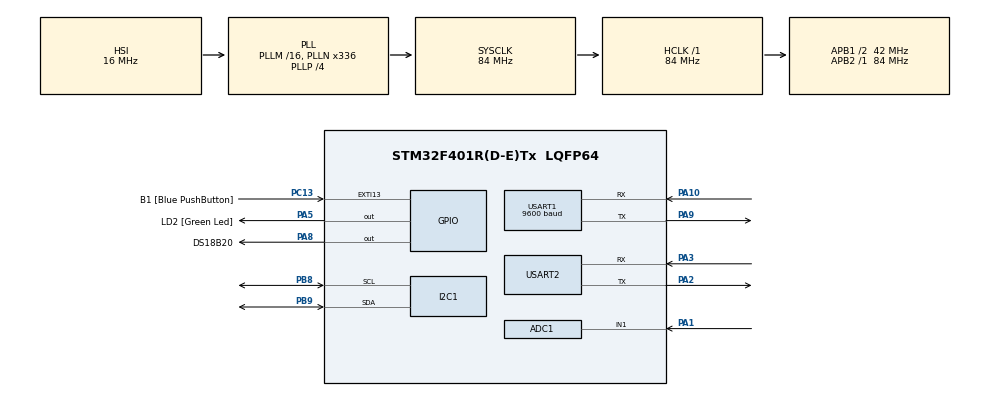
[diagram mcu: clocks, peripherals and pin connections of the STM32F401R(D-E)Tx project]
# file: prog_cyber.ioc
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ADC1.Channel-0\#ChannelRegularConversion=ADC_CHANNEL_1
ADC1.NbrOfConversionFlag=1
ADC1.Rank-0\#ChannelRegularConversion=1
ADC1.SamplingTime-0\#ChannelRegularConversion=ADC_SAMPLETIME_3CYCLES
ADC1.master=1
FREERTOS.Tasks01=defaultTask,0,128,StartDefaultTask,Default,NULL,Dynamic,NULL,NULL
Mcu.Family=STM32F4
Mcu.Name=STM32F401R(D-E)Tx
Mcu.Package=LQFP64
NVIC.PriorityGroup=NVIC_PRIORITYGROUP_4
NVIC.TIM1_UP_TIM10_IRQn=true\:0\:0\:true\:false\:true\:false\:false\:true\:true
NVIC.TimeBase=TIM1_UP_TIM10_IRQn
NVIC.TimeBaseIP=TIM1
PA1.Signal=ADCx_IN1
PA10.Mode=Asynchronous
PA10.Signal=USART1_RX
PA13.GPIO_Label=TMS
PA13.Mode=Trace_Asynchronous_SW
PA13.Signal=SYS_JTMS-SWDIO
PA14.GPIO_Label=TCK
PA14.Mode=Trace_Asynchronous_SW
PA14.Signal=SYS_JTCK-SWCLK
PA2.GPIO_Mode=GPIO_MODE_AF_PP
PA2.GPIO_ModeDefaultPP=GPIO_MODE_AF_PP
PA2.GPIO_PuPd=GPIO_NOPULL
PA2.GPIO_Speed=GPIO_SPEED_FREQ_VERY_HIGH
PA2.Mode=Asynchronous
PA2.Signal=USART2_TX
PA3.GPIO_Mode=GPIO_MODE_AF_PP
PA3.GPIO_ModeDefaultPP=GPIO_MODE_AF_PP
PA3.GPIO_PuPd=GPIO_NOPULL
PA3.GPIO_Speed=GPIO_SPEED_FREQ_VERY_HIGH
PA3.Mode=Asynchronous
PA3.Signal=USART2_RX
PA5.GPIO_Label=LD2 [Green Led]
PA5.GPIO_Mode=GPIO_MODE_OUTPUT_PP
PA5.GPIO_PuPd=GPIO_NOPULL
PA5.GPIO_Speed=GPIO_SPEED_FREQ_LOW
PA5.Signal=GPIO_Output
PA8.GPIO_Label=DS18B20
PA8.GPIO_ModeDefaultOutputPP=GPIO_MODE_OUTPUT_OD
PA8.GPIO_PuPd=GPIO_PULLUP
PA8.GPIO_Speed=GPIO_SPEED_FREQ_HIGH
PA8.PinState=GPIO_PIN_SET
PA8.Signal=GPIO_Output
PA9.Mode=Asynchronous
PA9.Signal=USART1_TX
PB3.GPIO_Label=SWO
PB3.Mode=Trace_Asynchronous_SW
PB3.Signal=SYS_JTDO-SWO
PB8.Mode=I2C
PB8.Signal=I2C1_SCL
PB9.Mode=I2C
PB9.Signal=I2C1_SDA
PC13-ANTI_TAMP.GPIO_Label=B1 [Blue PushButton]
PC13-ANTI_TAMP.GPIO_ModeDefaultEXTI=GPIO_MODE_IT_FALLING
PC13-ANTI_TAMP.GPIO_PuPd=GPIO_NOPULL
PC13-ANTI_TAMP.Signal=GPXTI13
PC14-OSC32_IN.Mode=LSE-External-Oscillator
PC14-OSC32_IN.Signal=RCC_OSC32_IN
PC15-OSC32_OUT.Mode=LSE-External-Oscillator
PC15-OSC32_OUT.Signal=RCC_OSC32_OUT
PH0\ -\ OSC_IN.Mode=HSE-External-Clock-Source
PH0\ -\ OSC_IN.Signal=RCC_OSC_IN
PH1\ -\ OSC_OUT.Mode=HSE-External-Clock-Source
PH1\ -\ OSC_OUT.Signal=RCC_OSC_OUT
ProjectManager.HeapSize=0x200
ProjectManager.StackSize=0x400
ProjectManager.TargetToolchain=STM32CubeIDE
RCC.48MHZClocksFreq_Value=48000000
RCC.AHBFreq_Value=84000000
RCC.APB1CLKDivider=RCC_HCLK_DIV2
RCC.APB1Freq_Value=42000000
RCC.APB1TimFreq_Value=84000000
RCC.APB2Freq_Value=84000000
RCC.APB2TimFreq_Value=84000000
RCC.CortexFreq_Value=84000000
RCC.HCLKFreq_Value=84000000
RCC.HSE_VALUE=8000000
RCC.HSI_VALUE=16000000
RCC.PLLN=336
RCC.PLLP=RCC_PLLP_DIV4
RCC.PLLQ=7
RCC.SYSCLKFreq_VALUE=84000000
RCC.SYSCLKSource=RCC_SYSCLKSOURCE_PLLCLK
RCC.VCOOutputFreq_Value=336000000
SH.ADCx_IN1.0=ADC1_IN1,IN1
USART1.BaudRate=9600
USART1.VirtualMode=VM_ASYNC
USART2.VirtualMode=VM_ASYNC
VP_FREERTOS_VS_CMSIS_V1.Mode=CMSIS_V1
VP_SYS_VS_tim1.Mode=TIM1
board=NUCLEO-F401RE

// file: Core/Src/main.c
/* USER CODE BEGIN Header */
/**
  ******************************************************************************
  * @file           : main.c
  * @brief          : Main program body
  ******************************************************************************
  */
/* USER CODE END Header */
#include "main.h"
#include "cmsis_os.h"

ADC_HandleTypeDef hadc1;//left for potential future use, in case another sensor requiring an ADC is added

I2C_HandleTypeDef hi2c1; //defining a variable/handle for I2C communication with the MPU6050

//definition of a variable/handle for UART serial communication with an HC-05 (Bluetooth module)
UART_HandleTypeDef huart1;
UART_HandleTypeDef huart2;

osThreadId defaultTaskHandle;//FREERTOS task identifier

void SystemClock_Config(void);
static void MX_GPIO_Init(void);
static void MX_I2C1_Init(void);
static void MX_USART2_UART_Init(void);
static void MX_ADC1_Init(void);
static void MX_USART1_UART_Init(void);
void StartDefaultTask(void const * argument);

/* USER CODE BEGIN PFP */
void MX_FREERTOS_Init(void); // Prototype of the function defined in freertos.c
/* USER CODE END PFP */

int main(void)
{

  /* MCU Configuration--------------------------------------------------------*/

  /* Reset of all peripherals, Initializes the Flash interface and the Systick. */
  HAL_Init();

  /* Configure the system clock */
  SystemClock_Config();

  /* Initialize all configured peripherals */
  MX_GPIO_Init();
  MX_I2C1_Init();
  MX_USART2_UART_Init();
  MX_ADC1_Init();
  MX_USART1_UART_Init();

  /*In the `main.c` code provided below, no mutexes, semaphores, timers, or queues have been used;
   * this is because FreeRTOS is managed within `freertos.c`,
   * and the architecture employed did not require their implementation. However, they could be enabled in the future.
   */

  /*===== CREATION OF THE TASK AND START OF THE RTOS KERNEL =====*/
  /* Create the thread(s) */
  /* definition and creation of defaultTask with priority normal and dedicated stack*/
  osThreadDef(defaultTask, StartDefaultTask, osPriorityNormal, 0, 128);
  defaultTaskHandle = osThreadCreate(osThread(defaultTask), NULL);

  MX_FREERTOS_Init();//Initialization of the global resources RTOS, already define in the freertos.c
  /* Start scheduler */
  /* Starting the FreeRTOS scheduler:
     From this point on, the kernel takes full control of the microcontroller,
     scheduling the tasks (SensorTask and BluetoothTask) based on their assigned priorities.*/
  osKernelStart();

  /* We should never get here as control is now taken by the scheduler */

  /* Infinite loop */
  while (1)
  {

  }
}

void SystemClock_Config(void)
{
  RCC_OscInitTypeDef RCC_OscInitStruct = {0};
  RCC_ClkInitTypeDef RCC_ClkInitStruct = {0};

  /** Configure the main internal regulator output voltage
  */
  __HAL_RCC_PWR_CLK_ENABLE();
  __HAL_PWR_VOLTAGESCALING_CONFIG(PWR_REGULATOR_VOLTAGE_SCALE2);

  /** Initializes the RCC Oscillators according to the specified parameters
  * in the RCC_OscInitTypeDef structure.
  */
  RCC_OscInitStruct.OscillatorType = RCC_OSCILLATORTYPE_HSI;
  RCC_OscInitStruct.HSIState = RCC_HSI_ON;
  RCC_OscInitStruct.HSICalibrationValue = RCC_HSICALIBRATION_DEFAULT;
  RCC_OscInitStruct.PLL.PLLState = RCC_PLL_ON;
  RCC_OscInitStruct.PLL.PLLSource = RCC_PLLSOURCE_HSI;
  RCC_OscInitStruct.PLL.PLLM = 16;
  RCC_OscInitStruct.PLL.PLLN = 336;
  RCC_OscInitStruct.PLL.PLLP = RCC_PLLP_DIV4;
  RCC_OscInitStruct.PLL.PLLQ = 7;
  if (HAL_RCC_OscConfig(&RCC_OscInitStruct) != HAL_OK)
  {
    Error_Handler();
  }

  /** Initializes the CPU, AHB and APB buses clocks
  */
  RCC_ClkInitStruct.ClockType = RCC_CLOCKTYPE_HCLK|RCC_CLOCKTYPE_SYSCLK
                              |RCC_CLOCKTYPE_PCLK1|RCC_CLOCKTYPE_PCLK2;
  RCC_ClkInitStruct.SYSCLKSource = RCC_SYSCLKSOURCE_PLLCLK;
  RCC_ClkInitStruct.AHBCLKDivider = RCC_SYSCLK_DIV1;
  RCC_ClkInitStruct.APB1CLKDivider = RCC_HCLK_DIV2;
  RCC_ClkInitStruct.APB2CLKDivider = RCC_HCLK_DIV1;

  if (HAL_RCC_ClockConfig(&RCC_ClkInitStruct, FLASH_LATENCY_2) != HAL_OK)
  {
    Error_Handler();
  }
}

static void MX_ADC1_Init(void)
{

  ADC_ChannelConfTypeDef sConfig = {0};

  /** Configure the global features of the ADC (Clock, Resolution, Data Alignment and number of conversion)
  */
  hadc1.Instance = ADC1;
  hadc1.Init.ClockPrescaler = ADC_CLOCK_SYNC_PCLK_DIV4;
  hadc1.Init.Resolution = ADC_RESOLUTION_12B;
  hadc1.Init.ScanConvMode = DISABLE;
  hadc1.Init.ContinuousConvMode = DISABLE;
  hadc1.Init.DiscontinuousConvMode = DISABLE;
  hadc1.Init.ExternalTrigConvEdge = ADC_EXTERNALTRIGCONVEDGE_NONE;
  hadc1.Init.ExternalTrigConv = ADC_SOFTWARE_START;
  hadc1.Init.DataAlign = ADC_DATAALIGN_RIGHT;
  hadc1.Init.NbrOfConversion = 1;
  hadc1.Init.DMAContinuousRequests = DISABLE;
  hadc1.Init.EOCSelection = ADC_EOC_SINGLE_CONV;
  if (HAL_ADC_Init(&hadc1) != HAL_OK)
  {
    Error_Handler();
  }

  /** Configure for the selected ADC regular channel its corresponding rank in the sequencer and its sample time.
  */
  sConfig.Channel = ADC_CHANNEL_1;
  sConfig.Rank = 1;
  sConfig.SamplingTime = ADC_SAMPLETIME_3CYCLES;
  if (HAL_ADC_ConfigChannel(&hadc1, &sConfig) != HAL_OK)
  {
    Error_Handler();
  }

}

static void MX_I2C1_Init(void)
{

  hi2c1.Instance = I2C1;
  hi2c1.Init.ClockSpeed = 100000;
  hi2c1.Init.DutyCycle = I2C_DUTYCYCLE_2;
  hi2c1.Init.OwnAddress1 = 0;
  hi2c1.Init.AddressingMode = I2C_ADDRESSINGMODE_7BIT;
  hi2c1.Init.DualAddressMode = I2C_DUALADDRESS_DISABLE;
  hi2c1.Init.OwnAddress2 = 0;
  hi2c1.Init.GeneralCallMode = I2C_GENERALCALL_DISABLE;
  hi2c1.Init.NoStretchMode = I2C_NOSTRETCH_DISABLE;
  if (HAL_I2C_Init(&hi2c1) != HAL_OK)
  {
    Error_Handler();
  }

}

static void MX_USART1_UART_Init(void)//we set baudrate to 9600 for the communication with the bluetooth module HC-05
{

  huart1.Instance = USART1;
  huart1.Init.BaudRate = 9600;
  huart1.Init.WordLength = UART_WORDLENGTH_8B;
  huart1.Init.StopBits = UART_STOPBITS_1;
  huart1.Init.Parity = UART_PARITY_NONE;
  huart1.Init.Mode = UART_MODE_TX_RX;
  huart1.Init.HwFlowCtl = UART_HWCONTROL_NONE;
  huart1.Init.OverSampling = UART_OVERSAMPLING_16;
  if (HAL_UART_Init(&huart1) != HAL_OK)
  {
    Error_Handler();
  }

}

static void MX_USART2_UART_Init(void)
{

  huart2.Instance = USART2;
  huart2.Init.BaudRate = 115200;
  huart2.Init.WordLength = UART_WORDLENGTH_8B;
  huart2.Init.StopBits = UART_STOPBITS_1;
  huart2.Init.Parity = UART_PARITY_NONE;
  huart2.Init.Mode = UART_MODE_TX_RX;
  huart2.Init.HwFlowCtl = UART_HWCONTROL_NONE;
  huart2.Init.OverSampling = UART_OVERSAMPLING_16;
  if (HAL_UART_Init(&huart2) != HAL_OK)
  {
    Error_Handler();
  }

}

static void MX_GPIO_Init(void) //function for different utilities of GPIO like LD2 for debugging task or PA8 for db18b20
//sensor of temperature that communicate only with onewire digital
{
  GPIO_InitTypeDef GPIO_InitStruct = {0};

  /* GPIO Ports Clock Enable */
  __HAL_RCC_GPIOC_CLK_ENABLE();
  __HAL_RCC_GPIOH_CLK_ENABLE();
  __HAL_RCC_GPIOA_CLK_ENABLE();
  __HAL_RCC_GPIOB_CLK_ENABLE();

  /*Configure GPIO pin Output Level */
  HAL_GPIO_WritePin(LD2_GPIO_Port, LD2_Pin, GPIO_PIN_RESET);

  /*Configure GPIO pin Output Level */
  HAL_GPIO_WritePin(DS18B20_GPIO_Port, DS18B20_Pin, GPIO_PIN_SET);

  /*Configure GPIO pin : B1_Pin */
  GPIO_InitStruct.Pin = B1_Pin;
  GPIO_InitStruct.Mode = GPIO_MODE_IT_FALLING;
  GPIO_InitStruct.Pull = GPIO_NOPULL;
  HAL_GPIO_Init(B1_GPIO_Port, &GPIO_InitStruct);

  /*Configure GPIO pin : LD2_Pin */
  GPIO_InitStruct.Pin = LD2_Pin;
  GPIO_InitStruct.Mode = GPIO_MODE_OUTPUT_PP;
  GPIO_InitStruct.Pull = GPIO_NOPULL;
  GPIO_InitStruct.Speed = GPIO_SPEED_FREQ_LOW;
  HAL_GPIO_Init(LD2_GPIO_Port, &GPIO_InitStruct);

  /*Configure GPIO pin : DS18B20_Pin */
  GPIO_InitStruct.Pin = DS18B20_Pin;
  GPIO_InitStruct.Mode = GPIO_MODE_OUTPUT_OD;
  GPIO_InitStruct.Pull = GPIO_PULLUP;
  GPIO_InitStruct.Speed = GPIO_SPEED_FREQ_HIGH;
  HAL_GPIO_Init(DS18B20_GPIO_Port, &GPIO_InitStruct);

}

void StartDefaultTask(void const * argument)
{
	/*Default task automatically generated by CubeMX.
	*Since the telemetry architecture is delegated entirely to custom tasks
	*(StartSensorTask and StartBluetoothTask), this task serves an
	inactive, supporting role, constantly yielding control back to the kernel.*/

  /* USER CODE BEGIN 5 */
  /* Infinite loop */
  for(;;)
  {
    osDelay(1); // Release the CPU for 1 ms, avoiding system overload
  }
  /* USER CODE END 5 */
}

/**
 * @brief Periodic interrupt callback for the hardware timer (TIM1).
 * Acts as the "heartbeat" (time-base) of the microcontroller,
 * incrementing the global variable 'uwTick' used by HAL_GetTick().
  * @param  htim : TIM handle
  * @retval None
  */
void HAL_TIM_PeriodElapsedCallback(TIM_HandleTypeDef *htim)
{
  if (htim->Instance == TIM1)
  {
    HAL_IncTick(); // Update the system millisecond counter
  }
}

void Error_Handler(void)
{
  __disable_irq();
  while (1)
  {
  }
}

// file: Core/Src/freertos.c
/* USER CODE BEGIN Header */
/**
  ******************************************************************************
  * File Name          : freertos.c
  * Description        : Code for freertos applications (Modular Architecture)
  ******************************************************************************
  */
/* USER CODE END Header */

#include "FreeRTOS.h" //header file of freertos.c
#include "task.h"  //header file that gives with FreeRTOS.h the primitives of time and thread
#include "queue.h"          // explicit inclusion of the queue
#include "main.h"		//inclusion of the main IMPORTANT
#include "cmsis_os.h"	//gives the definition CMSIS of the ARM for the uniformation of the callback of the os

/* USER CODE BEGIN Includes */
#include "ds18b20_temp.h"        // Header driver DS18B20 temperature sensor
#include "mpu6050.h"             // Driver MPU6050 I2C accelerometer sensor
#include "bluetooth.h"     // Driver Bluetooth UART module HC-05
#include "type_dati.h"       // Structure TelemetryPacket_t useful for the definition of data packet sent through HC-05
/* USER CODE END Includes */

/* USER CODE BEGIN Variables */
/*External references to hardware peripherals initialized in the main.c file*/
extern I2C_HandleTypeDef hi2c1;
extern UART_HandleTypeDef huart1;

// Queue e Task Handles
QueueHandle_t telemetryQueue = NULL; //Thread-safe queue for telemetry packets
osThreadId sensorTaskHandle; //Sensor sampling task handle
osThreadId bluetoothTaskHandle; //Handle for the serial/Bluetooth transmission task

// Istance MPU6050
volatile MPU6050_Handler_t mpu_device;

/*Debug variables mapped for real-time monitoring (IDE Live Expressions).
 *The 'volatile' keyword prevents the compiler from optimizing the variables away,
 *forcing the CPU to always read them directly from RAM.
 */
volatile float g_debug_ds18b20_temp = 0.0f;
volatile float g_debug_ax = 0.0f;
volatile float g_debug_ay = 0.0f;
volatile float g_debug_az = 0.0f;
/* USER CODE END Variables */

/* USER CODE BEGIN FunctionPrototypes */
void MX_FREERTOS_Init(void);
void StartSensorTask(void const * argument);
void StartBluetoothTask(void const * argument);
/* USER CODE END FunctionPrototypes */

/* Prototype for static memory allocation of the Idle task (FreeRTOS) */
void vApplicationGetIdleTaskMemory( StaticTask_t **ppxIdleTaskTCBBuffer, StackType_t **ppxIdleTaskStackBuffer, uint32_t *pulIdleTaskStackSize );

/* USER CODE BEGIN GET_IDLE_TASK_MEMORY */
static StaticTask_t xIdleTaskTCBBuffer;
static StackType_t xIdleStack[configMINIMAL_STACK_SIZE];

/**
 * @brief Provides the FreeRTOS kernel with static memory buffers for the Idle Task,
 * avoiding dynamic heap fragmentation and ensuring deterministic behavior.
 */
void vApplicationGetIdleTaskMemory( StaticTask_t **ppxIdleTaskTCBBuffer, StackType_t **ppxIdleTaskStackBuffer, uint32_t *pulIdleTaskStackSize )
{
  *ppxIdleTaskTCBBuffer = &xIdleTaskTCBBuffer;
  *ppxIdleTaskStackBuffer = &xIdleStack[0];
  *pulIdleTaskStackSize = configMINIMAL_STACK_SIZE;
}
/* USER CODE END GET_IDLE_TASK_MEMORY */

void MX_FREERTOS_Init(void) {

  /* USER CODE BEGIN RTOS_QUEUES */
  /* Creation of a thread-safe queue for telemetry packets.
  *Sized to hold up to 10 elements of type TelemetryPacket_t,
  *it acts as a decoupling buffer between the sensor task and the Bluetooth task. */
  telemetryQueue = xQueueCreate(10, sizeof(TelemetryPacket_t));
  /* USER CODE END RTOS_QUEUES */

  /* USER CODE BEGIN RTOS_TASKS */
  /* 1. Definition and creation of the Sensor Sampling Task
   *(Normal priority, stack allocated to 512 words to accommodate I2C and OneWire libraries). */
  osThreadDef(sensorTask, StartSensorTask, osPriorityNormal, 0, 512);
  sensorTaskHandle = osThreadCreate(osThread(sensorTask), NULL);

  /* 2. Definition and creation of the Bluetooth Transmission Task
   *(Normal priority, stack allocated to 512 words for serial communication handling). */
  osThreadDef(bluetoothTask, StartBluetoothTask, osPriorityNormal, 0, 512);
  bluetoothTaskHandle = osThreadCreate(osThread(bluetoothTask), NULL);
  /* USER CODE END RTOS_TASKS */
}

/* USER CODE BEGIN Application */

/**
 * @brief High-reliability sensor sampling task (DS18B20 + MPU6050).
 * Implements communication bus management, asynchronous non-blocking
 * conversion handling, and a software prescaler for packet decimation.
 */
void StartSensorTask(void const * argument)
{
// 1. Hardware initialization of the sensors on their respective buses
  DS18B20_init();
  MPU6050_Init(&hi2c1, (MPU6050_Handler_t *)&mpu_device);

  TelemetryPacket_t telemetry_packet = {0};
  MPU6050_Data_t mpu_data;

  uint16_t ds18b20_timer = 0;
  uint8_t ds18b20_converting = 0;

  // First attempt to initiate thermal conversion
  if (DS18B20_StartConversion()) {
      ds18b20_converting = 1;
  }
  uint32_t send_counter = 0; // Counter for temporal decimation of transmission, to avoid bottlenecks in packet transmission

  for(;;)
  {
	  // 2. MPU6050 sampling with a verifying protocol on the I2C bus (Address: 0x68 << 1 = 0xD0)
	  if (HAL_I2C_IsDeviceReady(&hi2c1, 0xD0, 1, 10) == HAL_OK)
	      {
	          MPU6050_SampleTask(&hi2c1, (MPU6050_Handler_t *)&mpu_device);

	          if (MPU6050_GetFilteredData((MPU6050_Handler_t *)&mpu_device, &mpu_data)) {
	        	  // Updating valid data in the telemetry packet
	              telemetry_packet.mpu_data.accel_x = mpu_data.accel_x;
	              telemetry_packet.mpu_data.accel_y = mpu_data.accel_y;
	              telemetry_packet.mpu_data.accel_z = mpu_data.accel_z;

	              // Updating debug variables for live monitoring via IDE
	              g_debug_ax = mpu_data.accel_x;
	              g_debug_ay = mpu_data.accel_y;
	              g_debug_az = mpu_data.accel_z;
	          }
	      }
	      else
	      {
	    	  // I2C fault handling: clearing data in the event of a disconnection or a locked bus
	    	  g_debug_ax = 0.0f;
	          g_debug_ay = 0.0f;
	          g_debug_az = 0.0f;
	          telemetry_packet.mpu_data.accel_x = 0.0f;
	          telemetry_packet.mpu_data.accel_y = 0.0f;
	          telemetry_packet.mpu_data.accel_z = 0.0f;

	          // Reset I2C hardware to recover the bus from any lock-ups
	          HAL_I2C_DeInit(&hi2c1);
	          osDelay(2);
	          HAL_I2C_Init(&hi2c1);
	          MPU6050_Init(&hi2c1, (MPU6050_Handler_t *)&mpu_device);
	      }
	  // 3. Asynchronous and non-blocking handling of the DS18B20 sensor (takes approximately 750ms) q
    if (ds18b20_converting) {
        ds18b20_timer++;
        if (ds18b20_timer >= 75) { // 75 cycles x 10ms = 750ms
            float current_temp = DS18B20_ReadTemperature();

            // Metric validation of the operating range (-55°C to +125°C)
            if (current_temp >= -55.0f && current_temp <= 125.0f) {
                telemetry_packet.ds18b20_data.temperature = current_temp;
                g_debug_ds18b20_temp = current_temp;
            } else {
                g_debug_ds18b20_temp = -999.0f;
                telemetry_packet.ds18b20_data.temperature = -999.0f;
            }

            // Attempt to restart the next conversion
            if (!DS18B20_StartConversion()) {
                ds18b20_converting = 0; // Sensor disconnected while driving
                g_debug_ds18b20_temp = -999.0f;
                telemetry_packet.ds18b20_data.temperature = -999.0f;
            }
            ds18b20_timer = 0;
        }
    } else {
    	// Sensor disconnected: attempts to reconnect every 100 cycles (1 second)
        ds18b20_timer++;
        if (ds18b20_timer >= 100) {
            if (DS18B20_StartConversion()) {
                ds18b20_converting = 1;
            } else {
                g_debug_ds18b20_temp = -999.0f;
                telemetry_packet.ds18b20_data.temperature = -999.0f;
            }
            ds18b20_timer = 0;
        }
    }

    // 4. Current timestamp in milliseconds
    telemetry_packet.timestamp_ms = HAL_GetTick();

    // 5. Transmission decimation: send to the Bluetooth queue only every 100 cycles (1 packet per second)
    send_counter++;
    if (send_counter >= 100) {
        if (telemetryQueue != NULL) {
            xQueueSend(telemetryQueue, &telemetry_packet, 0);
        }
        send_counter = 0;
    }

    // CRITICAL: Constant execution rhythm of 10 ms for the RTOS
    osDelay(10);
  }
}

/**
 * @brief Task for data transmission via Bluetooth (HC-05).
 * It remains in a blocked waiting state (without wasting CPU cycles)
 * until the sampling task places a new packet into the queue.
 */
void StartBluetoothTask(void const * argument)
{
// Initialization of the Bluetooth subsystem associated with UART1
  BT_Init(&huart1);

  TelemetryPacket_t rx_packet; // Structure for receiving a packet from the queue

  for(;;)
  {
    if (telemetryQueue != NULL) {
    	/* xQueueReceive with portMAX_DELAY:
    	 *Places the task into a zero-power-consumption suspended state (Blocked).
    	  *The kernel immediately wakes up the task as soon as the queue receives a new packet. */
      if (xQueueReceive(telemetryQueue, &rx_packet, portMAX_DELAY) == pdTRUE) {
        BT_SendPacket(&rx_packet);// Serialization and transmission of the packet via Bluetooth
      }
    } else {
    // Safety condition in case the queue has not been allocated correctly
      osDelay(100);
    }
  }
}

/* USER CODE END Application */
